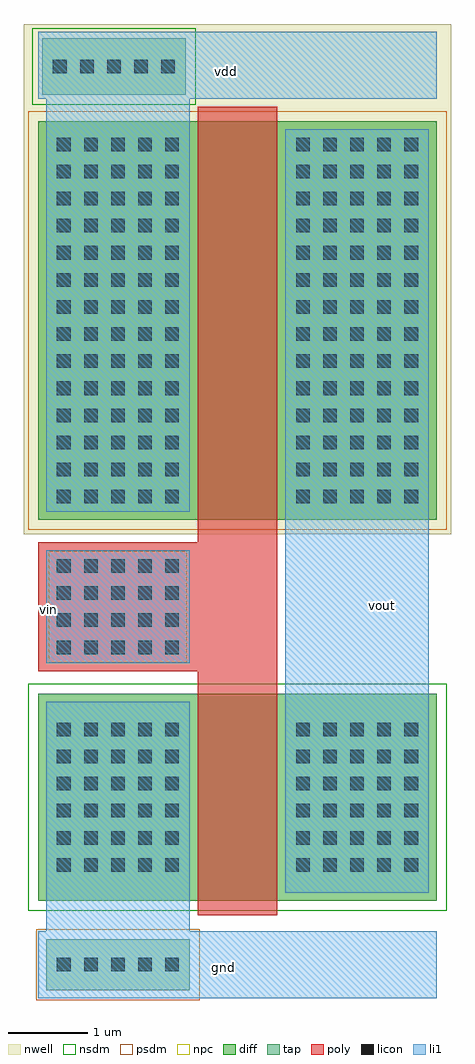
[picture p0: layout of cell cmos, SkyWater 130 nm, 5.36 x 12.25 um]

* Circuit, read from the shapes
.subckt cmos gnd vdd vin vout
XM1 vout vin gnd gnd sky130_fd_pr__nfet_01v8 w=2.6 l=1
XM2 vout vin vdd vdd sky130_fd_pr__pfet_01v8 w=5 l=1
.ends

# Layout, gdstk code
import gdstk
lib = gdstk.Library(unit=1e-6, precision=1e-09)
def R(c, l, rs):  # rectangles x0, y0, x1, y1
    for r in rs: c.add(gdstk.rectangle(r[:2], r[2:], *l))
def A(c, l, x, y, w, h, nx, ny, dx, dy):  # array of equal rectangles
    R(c, l, [(x+i*dx, y+j*dy, x+i*dx+w, y+j*dy+h) for i in range(nx) for j in range(ny)])
nwell = (64, 20)
diff = (65, 20)
tap = (65, 44)
poly = (66, 20)
licon = (66, 44)
li1 = (67, 20)
nsdm = (93, 44)
psdm = (94, 20)
npc = (95, 20)

nmos = lib.new_cell('nmos')
R(nmos, diff, [(0,-2.6,5,0)])
R(nmos, poly, [(2,-2.78,3,0.18)])
A(nmos, licon, 0.235, -2.235, 0.17, 0.17, 5, 6, 0.34, 0.34)
A(nmos, licon, 3.235, -2.235, 0.17, 0.17, 5, 6, 0.34, 0.34)
R(nmos, li1, [(0.1,-2.5,1.9,-0.1), (3.1,-2.5,4.9,-0.1)])
R(nmos, nsdm, [(-0.125,-2.725,5.125,0.125)])

pmos = lib.new_cell('pmos')
R(pmos, nwell, [(-0.18,-5.18,5.18,0.18)])
R(pmos, diff, [(0,-5,5,0)])
R(pmos, poly, [(2,-5.18,3,0.18)])
A(pmos, licon, 0.235, -4.795, 0.17, 0.17, 5, 14, 0.34, 0.34)
A(pmos, licon, 3.235, -4.795, 0.17, 0.17, 5, 14, 0.34, 0.34)
R(pmos, li1, [(0.1,-4.9,1.9,-0.1), (3.1,-4.9,4.9,-0.1)])
R(pmos, psdm, [(-0.125,-5.125,5.125,0.125)])

cmos = lib.new_cell('cmos')
R(cmos, nwell, [(0,5.36,5.36,6.4)])
R(cmos, tap, [(0.28,-5.72,2.08,-5.08), (0.23,5.51,2.03,6.22)])
R(cmos, poly, [(2.18,-1.82,3.18,-1.72), (0.18,-1.72,3.18,-0.1), (2.18,-0.1,3.18,0)])
A(cmos, licon, 0.415, -5.485, 0.17, 0.17, 5, 2, 0.34, 3.98)
A(cmos, licon, 0.415, -1.165, 0.17, 0.17, 5, 3, 0.34, 0.34)
A(cmos, licon, 0.365, 5.78, 0.17, 0.17, 5, 1, 0.34, 0)
R(cmos, li1, [(0.18,-5.82,5.18,-4.98), (0.28,-4.98,2.08,-4.5), (3.28,-2.1,5.08,0.28), (0.28,-1.62,2.08,-0.2), (0.28,5.08,2.08,5.46), (0.18,5.46,5.18,6.3)])
R(cmos, nsdm, [(0.105,5.385,2.155,6.345)])
R(cmos, psdm, [(0.155,-5.845,2.205,-4.955)])
R(cmos, npc, [(0.315,-1.605,2.045,-0.215)])
cmos.add(gdstk.Reference(nmos, (0.18,-2)))
cmos.add(gdstk.Reference(pmos, (0.18,5.18)))
cmos.add(gdstk.Label('vdd', (2.54,5.81), layer=67, texttype=16))
cmos.add(gdstk.Label('gnd', (2.51,-5.44), layer=67, texttype=16))
cmos.add(gdstk.Label('vout', (4.5,-0.9), layer=67, texttype=16))
cmos.add(gdstk.Label('vin', (0.31,-0.94), layer=67, texttype=16))

lib.write_gds('cmos.gds')
